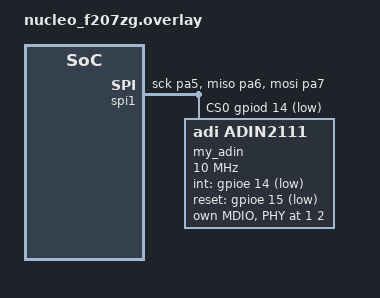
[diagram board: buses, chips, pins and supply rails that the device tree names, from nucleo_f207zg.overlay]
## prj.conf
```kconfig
CONFIG_NETWORKING=y
CONFIG_NET_IPV6=n
CONFIG_NET_IPV4=y
CONFIG_NET_ARP=y
CONFIG_NET_UDP=y
CONFIG_NET_DHCPV4=y
CONFIG_NET_L2_ETHERNET=y

CONFIG_TEST_RANDOM_GENERATOR=y

CONFIG_INIT_STACKS=y

CONFIG_NET_MGMT=y
CONFIG_NET_MGMT_EVENT=y

CONFIG_NET_LOG=y
CONFIG_LOG=y

CONFIG_SLIP_STATISTICS=n
#CONFIG_NET_SHELL=y

CONFIG_ETH_DRIVER=y
#CONFIG_ETH_ADIN2111=y
#CONFIG_ETH_ADIN2111_SPI_CFG0=n

CONFIG_ETHERNET_LOG_LEVEL_DBG=y
CONFIG_NET_ICMPV4_LOG_LEVEL_DBG=y
CONFIG_NET_MGMT_EVENT_LOG_LEVEL_DBG=y


# Enable the MQTT Lib
#CONFIG_MQTT_LIB=y
```

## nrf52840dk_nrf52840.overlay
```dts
/*
 * Copyright (c) 2020 STMicroelectronics
 *
 * SPDX-License-Identifier: Apache-2.0
 */




&spi1 {
	cs-gpios = <&gpio0 14 (GPIO_ACTIVE_LOW | GPIO_PULL_UP)>;
	status = "disabled";
};
```

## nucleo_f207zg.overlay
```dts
/*
 * Copyright (c) 2020 STMicroelectronics
 *
 * SPDX-License-Identifier: Apache-2.0
 */


/ {

	/* These aliases are provided for compatibility with samples */
	aliases {
		adin-1 = &my_adin;
	};
};

&spi1 {
	pinctrl-0 = <&spi1_sck_pa5 &spi1_miso_pa6 &spi1_mosi_pa7>;
	pinctrl-names = "default";
	interrupts = < 0x23 0x2 >;
	cs-gpios = <&gpiod 14 (GPIO_ACTIVE_LOW | GPIO_PULL_UP)>;
	status = "okay";
	my_adin: adin2111@0{
		compatible = "adi,adin2111";
		reg = <0x0>;
		spi-max-frequency = <10000000>;
		int-gpios = <&gpioe 14 GPIO_ACTIVE_LOW>;
		reset-gpios = <&gpioe 15 GPIO_ACTIVE_LOW>;
		port1 {
			local-mac-address = [ 00 E0 22 FE DA C8 ];
		};
		port2 {
			local-mac-address = [ 00 E0 22 FE DA C8 ];
		};
		mdio: mdio {
			compatible = "adi,adin2111-mdio";
			#address-cells = <1>;
			#size-cells = <0>;
			phy@1 {
			  reg = <0x1>;
			  compatible = "adi,adin2111-phy";
			  status = "okay";
			};
			phy@2 {
			  reg = <0x2>;
			  compatible = "adi,adin2111-phy";
			  status = "okay";
			};
		};
	};
};

&mac {
	status = "disabled";
};

&i2c1 {
	status = "disabled";
};
```

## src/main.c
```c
/* Networking DHCPv4 client */

/*
 * Copyright (c) 2017 ARM Ltd.
 * Copyright (c) 2016 Intel Corporation.
 *
 * SPDX-License-Identifier: Apache-2.0
 */

#include <zephyr/logging/log.h>
LOG_MODULE_REGISTER(net_dhcpv4_client_sample, LOG_LEVEL_DBG);

#include <zephyr/kernel.h>
#include <zephyr/linker/sections.h>
#include <errno.h>
#include <stdio.h>

#include <zephyr/net/net_if.h>
#include <zephyr/net/net_core.h>
#include <zephyr/net/net_context.h>
#include <zephyr/net/net_mgmt.h>

static struct net_mgmt_event_callback mgmt_cb;

static const struct device *adin = NULL;

static void handler(struct net_mgmt_event_callback *cb,
		    uint32_t mgmt_event,
		    struct net_if *iface)
{
	int i = 0;
	LOG_INF("handler dhcp");
	if (mgmt_event != NET_EVENT_IPV4_ADDR_ADD) {
		return;
	}

	for (i = 0; i < NET_IF_MAX_IPV4_ADDR; i++) {
		char buf[NET_IPV4_ADDR_LEN];

		if (iface->config.ip.ipv4->unicast[i].addr_type !=
							NET_ADDR_DHCP) {
			continue;
		}

		LOG_INF("Your address: %s",
			net_addr_ntop(AF_INET,
			    &iface->config.ip.ipv4->unicast[i].address.in_addr,
						  buf, sizeof(buf)));
		LOG_INF("Lease time: %u seconds",
			 iface->config.dhcpv4.lease_time);
		LOG_INF("Subnet: %s",
			net_addr_ntop(AF_INET,
				       &iface->config.ip.ipv4->netmask,
				       buf, sizeof(buf)));
		LOG_INF("Router: %s",
			net_addr_ntop(AF_INET,
						 &iface->config.ip.ipv4->gw,
						 buf, sizeof(buf)));
	}
}

void main(void)
{
	struct net_if *iface;

	LOG_INF("Run dhcpv4 client");

    //adin = DEVICE_DT_GET(ADIN_DEVICE);
    if(adin == NULL){
        LOG_INF("adin device was not found");
    }
    else{
        LOG_INF("adin found");
    }

	if (!device_is_ready(adin)) {
		LOG_INF("adin not ready");
    }
	else{
	}

	net_mgmt_init_event_callback(&mgmt_cb, handler,
				     NET_EVENT_IPV4_ADDR_ADD);
	net_mgmt_add_event_callback(&mgmt_cb);

	iface = net_if_get_default();

	net_dhcpv4_start(iface);
}
```
